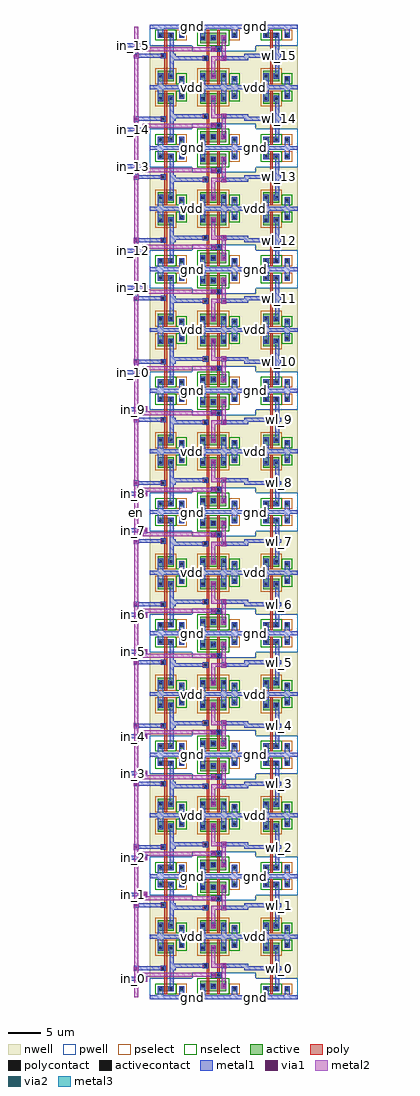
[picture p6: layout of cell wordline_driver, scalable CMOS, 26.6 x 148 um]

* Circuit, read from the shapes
.subckt wordline_driver en gnd in_0 in_1 in_10 in_11 in_12 in_13 in_14 in_15 in_2 in_3 in_4 in_5 in_6 in_7 in_8 in_9 vdd wl_0 wl_1 wl_10 wl_11 wl_12 wl_13 wl_14 wl_15 wl_2 wl_3 wl_4 wl_5 wl_6 wl_7 wl_8 wl_9
M1 pnand2_6_1/A en gnd gnd nfet w=0.8u l=0.4u
M2 pnand2_6_4/A en gnd gnd nfet w=0.8u l=0.4u
M3 pnand2_6_7/A en gnd gnd nfet w=0.8u l=0.4u
M4 pnand2_6_10/A en gnd gnd nfet w=0.8u l=0.4u
M5 pnand2_6_13/A en gnd gnd nfet w=0.8u l=0.4u
M6 pnand2_6_16/A en gnd gnd nfet w=0.8u l=0.4u
M7 pnand2_6_19/A en gnd gnd nfet w=0.8u l=0.4u
M8 pnand2_6_22/A en gnd gnd nfet w=0.8u l=0.4u
M9 pnand2_6_25/A en gnd gnd nfet w=0.8u l=0.4u
M10 pnand2_6_28/A en gnd gnd nfet w=0.8u l=0.4u
M11 pnand2_6_31/A en gnd gnd nfet w=0.8u l=0.4u
M12 pnand2_6_34/A en gnd gnd nfet w=0.8u l=0.4u
M13 pnand2_6_37/A en gnd gnd nfet w=0.8u l=0.4u
M14 pnand2_6_40/A en gnd gnd nfet w=0.8u l=0.4u
M15 pnand2_6_43/A en gnd gnd nfet w=0.8u l=0.4u
M16 pnand2_6_46/A en gnd gnd nfet w=0.8u l=0.4u
M17 pnand2_6_1/nmos_m1_w1_6_a_p_2/D pnand2_6_1/A gnd gnd nfet w=1.6u l=0.4u
M18 pnand2_6_4/nmos_m1_w1_6_a_p_2/D pnand2_6_4/A gnd gnd nfet w=1.6u l=0.4u
M19 pnand2_6_7/nmos_m1_w1_6_a_p_2/D pnand2_6_7/A gnd gnd nfet w=1.6u l=0.4u
M20 pnand2_6_10/nmos_m1_w1_6_a_p_2/D pnand2_6_10/A gnd gnd nfet w=1.6u l=0.4u
M21 pnand2_6_13/nmos_m1_w1_6_a_p_2/D pnand2_6_13/A gnd gnd nfet w=1.6u l=0.4u
M22 pnand2_6_16/nmos_m1_w1_6_a_p_2/D pnand2_6_16/A gnd gnd nfet w=1.6u l=0.4u
M23 pnand2_6_19/nmos_m1_w1_6_a_p_2/D pnand2_6_19/A gnd gnd nfet w=1.6u l=0.4u
M24 pnand2_6_22/nmos_m1_w1_6_a_p_2/D pnand2_6_22/A gnd gnd nfet w=1.6u l=0.4u
M25 pnand2_6_25/nmos_m1_w1_6_a_p_2/D pnand2_6_25/A gnd gnd nfet w=1.6u l=0.4u
M26 pnand2_6_28/nmos_m1_w1_6_a_p_2/D pnand2_6_28/A gnd gnd nfet w=1.6u l=0.4u
M27 pnand2_6_31/nmos_m1_w1_6_a_p_2/D pnand2_6_31/A gnd gnd nfet w=1.6u l=0.4u
M28 pnand2_6_34/nmos_m1_w1_6_a_p_2/D pnand2_6_34/A gnd gnd nfet w=1.6u l=0.4u
M29 pnand2_6_37/nmos_m1_w1_6_a_p_2/D pnand2_6_37/A gnd gnd nfet w=1.6u l=0.4u
M30 pnand2_6_40/nmos_m1_w1_6_a_p_2/D pnand2_6_40/A gnd gnd nfet w=1.6u l=0.4u
M31 pnand2_6_43/nmos_m1_w1_6_a_p_2/D pnand2_6_43/A gnd gnd nfet w=1.6u l=0.4u
M32 pnand2_6_46/nmos_m1_w1_6_a_p_2/D pnand2_6_46/A gnd gnd nfet w=1.6u l=0.4u
M33 pinv_32_2/A in_0 pnand2_6_1/nmos_m1_w1_6_a_p_2/D gnd nfet w=1.6u l=0.4u
M34 pinv_32_5/A in_1 pnand2_6_4/nmos_m1_w1_6_a_p_2/D gnd nfet w=1.6u l=0.4u
M35 pinv_32_8/A in_2 pnand2_6_7/nmos_m1_w1_6_a_p_2/D gnd nfet w=1.6u l=0.4u
M36 pinv_32_11/A in_3 pnand2_6_10/nmos_m1_w1_6_a_p_2/D gnd nfet w=1.6u l=0.4u
M37 pinv_32_14/A in_4 pnand2_6_13/nmos_m1_w1_6_a_p_2/D gnd nfet w=1.6u l=0.4u
M38 pinv_32_17/A in_5 pnand2_6_16/nmos_m1_w1_6_a_p_2/D gnd nfet w=1.6u l=0.4u
M39 pinv_32_20/A in_6 pnand2_6_19/nmos_m1_w1_6_a_p_2/D gnd nfet w=1.6u l=0.4u
M40 pinv_32_23/A in_7 pnand2_6_22/nmos_m1_w1_6_a_p_2/D gnd nfet w=1.6u l=0.4u
M41 pinv_32_26/A in_8 pnand2_6_25/nmos_m1_w1_6_a_p_2/D gnd nfet w=1.6u l=0.4u
M42 pinv_32_29/A in_9 pnand2_6_28/nmos_m1_w1_6_a_p_2/D gnd nfet w=1.6u l=0.4u
M43 pinv_32_32/A in_10 pnand2_6_31/nmos_m1_w1_6_a_p_2/D gnd nfet w=1.6u l=0.4u
M44 pinv_32_35/A in_11 pnand2_6_34/nmos_m1_w1_6_a_p_2/D gnd nfet w=1.6u l=0.4u
M45 pinv_32_38/A in_12 pnand2_6_37/nmos_m1_w1_6_a_p_2/D gnd nfet w=1.6u l=0.4u
M46 pinv_32_41/A in_13 pnand2_6_40/nmos_m1_w1_6_a_p_2/D gnd nfet w=1.6u l=0.4u
M47 pinv_32_44/A in_14 pnand2_6_43/nmos_m1_w1_6_a_p_2/D gnd nfet w=1.6u l=0.4u
M48 pinv_32_47/A in_15 pnand2_6_46/nmos_m1_w1_6_a_p_2/D gnd nfet w=1.6u l=0.4u
M49 wl_0 pinv_32_2/A gnd gnd nfet w=0.8u l=0.4u
M50 wl_1 pinv_32_5/A gnd gnd nfet w=0.8u l=0.4u
M51 wl_2 pinv_32_8/A gnd gnd nfet w=0.8u l=0.4u
M52 wl_3 pinv_32_11/A gnd gnd nfet w=0.8u l=0.4u
M53 wl_4 pinv_32_14/A gnd gnd nfet w=0.8u l=0.4u
M54 wl_5 pinv_32_17/A gnd gnd nfet w=0.8u l=0.4u
M55 wl_6 pinv_32_20/A gnd gnd nfet w=0.8u l=0.4u
M56 wl_7 pinv_32_23/A gnd gnd nfet w=0.8u l=0.4u
M57 wl_8 pinv_32_26/A gnd gnd nfet w=0.8u l=0.4u
M58 wl_9 pinv_32_29/A gnd gnd nfet w=0.8u l=0.4u
M59 wl_10 pinv_32_32/A gnd gnd nfet w=0.8u l=0.4u
M60 wl_11 pinv_32_35/A gnd gnd nfet w=0.8u l=0.4u
M61 wl_12 pinv_32_38/A gnd gnd nfet w=0.8u l=0.4u
M62 wl_13 pinv_32_41/A gnd gnd nfet w=0.8u l=0.4u
M63 wl_14 pinv_32_44/A gnd gnd nfet w=0.8u l=0.4u
M64 wl_15 pinv_32_47/A gnd gnd nfet w=0.8u l=0.4u
M65 pnand2_6_1/A en vdd vdd pfet w=1.6u l=0.4u
M66 pnand2_6_4/A en vdd vdd pfet w=1.6u l=0.4u
M67 pnand2_6_7/A en vdd vdd pfet w=1.6u l=0.4u
M68 pnand2_6_10/A en vdd vdd pfet w=1.6u l=0.4u
M69 pnand2_6_13/A en vdd vdd pfet w=1.6u l=0.4u
M70 pnand2_6_16/A en vdd vdd pfet w=1.6u l=0.4u
M71 pnand2_6_19/A en vdd vdd pfet w=1.6u l=0.4u
M72 pnand2_6_22/A en vdd vdd pfet w=1.6u l=0.4u
M73 pnand2_6_25/A en vdd vdd pfet w=1.6u l=0.4u
M74 pnand2_6_28/A en vdd vdd pfet w=1.6u l=0.4u
M75 pnand2_6_31/A en vdd vdd pfet w=1.6u l=0.4u
M76 pnand2_6_34/A en vdd vdd pfet w=1.6u l=0.4u
M77 pnand2_6_37/A en vdd vdd pfet w=1.6u l=0.4u
M78 pnand2_6_40/A en vdd vdd pfet w=1.6u l=0.4u
M79 pnand2_6_43/A en vdd vdd pfet w=1.6u l=0.4u
M80 pnand2_6_46/A en vdd vdd pfet w=1.6u l=0.4u
M81 pinv_32_2/A pnand2_6_1/A vdd vdd pfet w=1.6u l=0.4u
M82 pinv_32_5/A pnand2_6_4/A vdd vdd pfet w=1.6u l=0.4u
M83 pinv_32_8/A pnand2_6_7/A vdd vdd pfet w=1.6u l=0.4u
M84 pinv_32_11/A pnand2_6_10/A vdd vdd pfet w=1.6u l=0.4u
M85 pinv_32_14/A pnand2_6_13/A vdd vdd pfet w=1.6u l=0.4u
M86 pinv_32_17/A pnand2_6_16/A vdd vdd pfet w=1.6u l=0.4u
M87 pinv_32_20/A pnand2_6_19/A vdd vdd pfet w=1.6u l=0.4u
M88 pinv_32_23/A pnand2_6_22/A vdd vdd pfet w=1.6u l=0.4u
M89 pinv_32_26/A pnand2_6_25/A vdd vdd pfet w=1.6u l=0.4u
M90 pinv_32_29/A pnand2_6_28/A vdd vdd pfet w=1.6u l=0.4u
M91 pinv_32_32/A pnand2_6_31/A vdd vdd pfet w=1.6u l=0.4u
M92 pinv_32_35/A pnand2_6_34/A vdd vdd pfet w=1.6u l=0.4u
M93 pinv_32_38/A pnand2_6_37/A vdd vdd pfet w=1.6u l=0.4u
M94 pinv_32_41/A pnand2_6_40/A vdd vdd pfet w=1.6u l=0.4u
M95 pinv_32_44/A pnand2_6_43/A vdd vdd pfet w=1.6u l=0.4u
M96 pinv_32_47/A pnand2_6_46/A vdd vdd pfet w=1.6u l=0.4u
M97 vdd in_0 pinv_32_2/A vdd pfet w=1.6u l=0.4u
M98 vdd in_1 pinv_32_5/A vdd pfet w=1.6u l=0.4u
M99 vdd in_2 pinv_32_8/A vdd pfet w=1.6u l=0.4u
M100 vdd in_3 pinv_32_11/A vdd pfet w=1.6u l=0.4u
M101 vdd in_4 pinv_32_14/A vdd pfet w=1.6u l=0.4u
M102 vdd in_5 pinv_32_17/A vdd pfet w=1.6u l=0.4u
M103 vdd in_6 pinv_32_20/A vdd pfet w=1.6u l=0.4u
M104 vdd in_7 pinv_32_23/A vdd pfet w=1.6u l=0.4u
M105 vdd in_8 pinv_32_26/A vdd pfet w=1.6u l=0.4u
M106 vdd in_9 pinv_32_29/A vdd pfet w=1.6u l=0.4u
M107 vdd in_10 pinv_32_32/A vdd pfet w=1.6u l=0.4u
M108 vdd in_11 pinv_32_35/A vdd pfet w=1.6u l=0.4u
M109 vdd in_12 pinv_32_38/A vdd pfet w=1.6u l=0.4u
M110 vdd in_13 pinv_32_41/A vdd pfet w=1.6u l=0.4u
M111 vdd in_14 pinv_32_44/A vdd pfet w=1.6u l=0.4u
M112 vdd in_15 pinv_32_47/A vdd pfet w=1.6u l=0.4u
M113 wl_0 pinv_32_2/A vdd vdd pfet w=1.6u l=0.4u
M114 wl_1 pinv_32_5/A vdd vdd pfet w=1.6u l=0.4u
M115 wl_2 pinv_32_8/A vdd vdd pfet w=1.6u l=0.4u
M116 wl_3 pinv_32_11/A vdd vdd pfet w=1.6u l=0.4u
M117 wl_4 pinv_32_14/A vdd vdd pfet w=1.6u l=0.4u
M118 wl_5 pinv_32_17/A vdd vdd pfet w=1.6u l=0.4u
M119 wl_6 pinv_32_20/A vdd vdd pfet w=1.6u l=0.4u
M120 wl_7 pinv_32_23/A vdd vdd pfet w=1.6u l=0.4u
M121 wl_8 pinv_32_26/A vdd vdd pfet w=1.6u l=0.4u
M122 wl_9 pinv_32_29/A vdd vdd pfet w=1.6u l=0.4u
M123 wl_10 pinv_32_32/A vdd vdd pfet w=1.6u l=0.4u
M124 wl_11 pinv_32_35/A vdd vdd pfet w=1.6u l=0.4u
M125 wl_12 pinv_32_38/A vdd vdd pfet w=1.6u l=0.4u
M126 wl_13 pinv_32_41/A vdd vdd pfet w=1.6u l=0.4u
M127 wl_14 pinv_32_44/A vdd vdd pfet w=1.6u l=0.4u
M128 wl_15 pinv_32_47/A vdd vdd pfet w=1.6u l=0.4u
.ends

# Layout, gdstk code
from math import pi, radians
import gdstk
lib = gdstk.Library(unit=1e-6, precision=1e-09)
def R(c, l, rs):  # rectangles x0, y0, x1, y1
    for r in rs: c.add(gdstk.rectangle(r[:2], r[2:], *l))
def A(c, l, x, y, w, h, nx, ny, dx, dy):  # array of equal rectangles
    R(c, l, [(x+i*dx, y+j*dy, x+i*dx+w, y+j*dy+h) for i in range(nx) for j in range(ny)])
pwell = (41, 0)
nwell = (42, 0)
active = (43, 0)
pselect = (44, 0)
nselect = (45, 0)
poly = (46, 0)
polycontact = (47, 0)
activecontact = (48, 0)
metal1 = (49, 0)
via1 = (50, 0)
metal2 = (51, 0)
via2 = (61, 0)
metal3 = (62, 0)

active_contact_metal1_1x = lib.new_cell('active_contact_metal1_1x1_pn')
R(active_contact_metal1_1x, nwell, [(-1.2,-1.2,2,2)])
R(active_contact_metal1_1x, active, [(0,0,0.8,0.8)])
R(active_contact_metal1_1x, pselect, [(-0.4,-0.4,1.2,1.2)])
R(active_contact_metal1_1x, activecontact, [(0.2,0.2,0.6,0.6)])
R(active_contact_metal1_1x, metal1, [(0,0,0.8,0.8)])

pmos_m1_w1_6_a_p = lib.new_cell('pmos_m1_w1_6_a_p')
R(pmos_m1_w1_6_a_p, nwell, [(-1.2,-1.2,3.6,2.8)])
R(pmos_m1_w1_6_a_p, active, [(0,0,2.4,1.6)])
R(pmos_m1_w1_6_a_p, pselect, [(-0.4,-0.4,2.8,2)])
R(pmos_m1_w1_6_a_p, poly, [(1,-0.4,1.4,2), (1,-0.4,1.4,2)])
R(pmos_m1_w1_6_a_p, metal1, [(0,0.4,0.8,1.2), (1.6,0.4,2.4,1.2)])
pmos_m1_w1_6_a_p.add(gdstk.Reference(active_contact_metal1_1x, (0,0.4)))
pmos_m1_w1_6_a_p.add(gdstk.Reference(active_contact_metal1_1x, (1.6,0.4)))
pmos_m1_w1_6_a_p.add(gdstk.Label('G', (1.2,0.8), layer=46, texttype=0))
pmos_m1_w1_6_a_p.add(gdstk.Label('S', (0.4,0.8), layer=49, texttype=0))
pmos_m1_w1_6_a_p.add(gdstk.Label('D', (2,0.8), layer=49, texttype=0))

c_active_contact_metal1_1x = lib.new_cell('active_contact_metal1_1x1_np')
R(c_active_contact_metal1_1x, pwell, [(-1.2,-1.2,2,2)])
R(c_active_contact_metal1_1x, active, [(0,0,0.8,0.8)])
R(c_active_contact_metal1_1x, nselect, [(-0.4,-0.4,1.2,1.2)])
R(c_active_contact_metal1_1x, activecontact, [(0.2,0.2,0.6,0.6)])
R(c_active_contact_metal1_1x, metal1, [(0,0,0.8,0.8)])

nmos_m1_w0_8_a_p = lib.new_cell('nmos_m1_w0_8_a_p')
R(nmos_m1_w0_8_a_p, pwell, [(-1.2,-1.2,3.6,2)])
R(nmos_m1_w0_8_a_p, active, [(0,0,2.4,0.8)])
R(nmos_m1_w0_8_a_p, nselect, [(-0.4,-0.4,2.8,1.2)])
R(nmos_m1_w0_8_a_p, poly, [(1,-0.4,1.4,1.2), (1,-0.4,1.4,1.2)])
R(nmos_m1_w0_8_a_p, metal1, [(0,0,0.8,0.8), (1.6,0,2.4,0.8)])
nmos_m1_w0_8_a_p.add(gdstk.Reference(c_active_contact_metal1_1x, (0,0)))
nmos_m1_w0_8_a_p.add(gdstk.Reference(c_active_contact_metal1_1x, (1.6,0)))
nmos_m1_w0_8_a_p.add(gdstk.Label('G', (1.2,0.4), layer=46, texttype=0))
nmos_m1_w0_8_a_p.add(gdstk.Label('S', (0.4,0.4), layer=49, texttype=0))
nmos_m1_w0_8_a_p.add(gdstk.Label('D', (2,0.4), layer=49, texttype=0))

c_active_contact_metal1_1x_ = lib.new_cell('active_contact_metal1_1x1_nn')
R(c_active_contact_metal1_1x_, nwell, [(-1.2,-1.2,2,2)])
R(c_active_contact_metal1_1x_, active, [(0,0,0.8,0.8)])
R(c_active_contact_metal1_1x_, nselect, [(-0.4,-0.4,1.2,1.2)])
R(c_active_contact_metal1_1x_, activecontact, [(0.2,0.2,0.6,0.6)])
R(c_active_contact_metal1_1x_, metal1, [(0,0,0.8,0.8)])

c_active_contact_metal1_1x__ = lib.new_cell('active_contact_metal1_1x1_pp')
R(c_active_contact_metal1_1x__, pwell, [(-1.2,-1.2,2,2)])
R(c_active_contact_metal1_1x__, active, [(0,0,0.8,0.8)])
R(c_active_contact_metal1_1x__, pselect, [(-0.4,-0.4,1.2,1.2)])
R(c_active_contact_metal1_1x__, activecontact, [(0.2,0.2,0.6,0.6)])
R(c_active_contact_metal1_1x__, metal1, [(0,0,0.8,0.8)])

poly_contact_metal1_1x1 = lib.new_cell('poly_contact_metal1_1x1')
R(poly_contact_metal1_1x1, poly, [(0,0,0.8,0.8)])
R(poly_contact_metal1_1x1, polycontact, [(0.2,0.2,0.6,0.6)])
R(poly_contact_metal1_1x1, metal1, [(0,0,0.8,0.8)])

pinv_33 = lib.new_cell('pinv_33')
R(pinv_33, pwell, [(0,-0.3,6.4,2.9)])
R(pinv_33, nwell, [(0,2.9,6.4,9.5)])
R(pinv_33, poly, [(2.2,0.5,2.6,6.3), (2,4,2.2,4.8)])
R(pinv_33, metal1, [(0,-0.3,6.4,0.3), (1.2,-0.3,2,0.9), (4.4,0,5.2,1.3), (3,0.9,3.6,7.1), (1.6,4,2.4,4.8), (3.3,4.1,3.9,4.7), (1.2,7.1,2,9.5), (4.4,7.9,5.2,9.2), (0,8.9,6.4,9.5)])
pinv_33.add(gdstk.Reference(pmos_m1_w1_6_a_p, (1.2,6.7)))
pinv_33.add(gdstk.Reference(nmos_m1_w0_8_a_p, (1.2,0.9)))
pinv_33.add(gdstk.Reference(c_active_contact_metal1_1x_, (4.4,7.5)))
pinv_33.add(gdstk.Reference(c_active_contact_metal1_1x__, (4.4,0.9)))
pinv_33.add(gdstk.Reference(poly_contact_metal1_1x1, (1.6,4)))
pinv_33.add(gdstk.Label('gnd', (3.2,0), layer=49, texttype=0))
pinv_33.add(gdstk.Label('vdd', (3.2,9.2), layer=49, texttype=0))
pinv_33.add(gdstk.Label('A', (2,4.4), layer=49, texttype=0))
pinv_33.add(gdstk.Label('Z', (3.6,4.4), layer=49, texttype=0))

nmos_m1_w1_6_a_p = lib.new_cell('nmos_m1_w1_6_a_p')
R(nmos_m1_w1_6_a_p, pwell, [(-1.2,-1.2,3.6,2.8)])
R(nmos_m1_w1_6_a_p, active, [(0,0,2.4,1.6)])
R(nmos_m1_w1_6_a_p, nselect, [(-0.4,-0.4,2.8,2)])
R(nmos_m1_w1_6_a_p, poly, [(1,-0.4,1.4,2), (1,-0.4,1.4,2)])
R(nmos_m1_w1_6_a_p, metal1, [(0,0.4,0.8,1.2), (1.6,0.4,2.4,1.2)])
nmos_m1_w1_6_a_p.add(gdstk.Reference(c_active_contact_metal1_1x, (0,0.4)))
nmos_m1_w1_6_a_p.add(gdstk.Reference(c_active_contact_metal1_1x, (1.6,0.4)))
nmos_m1_w1_6_a_p.add(gdstk.Label('G', (1.2,0.8), layer=46, texttype=0))
nmos_m1_w1_6_a_p.add(gdstk.Label('S', (0.4,0.8), layer=49, texttype=0))
nmos_m1_w1_6_a_p.add(gdstk.Label('D', (2,0.8), layer=49, texttype=0))

metal1_via1_metal2_1x1 = lib.new_cell('metal1_via1_metal2_1x1')
R(metal1_via1_metal2_1x1, metal1, [(0,0,0.8,0.8)])
R(metal1_via1_metal2_1x1, via1, [(0.2,0.2,0.6,0.6)])
R(metal1_via1_metal2_1x1, metal2, [(0,0,0.8,0.8)])

pnand2_6 = lib.new_cell('pnand2_6')
R(pnand2_6, pwell, [(0,-0.3,9.6,3.7)])
R(pnand2_6, nwell, [(0,3.7,9.6,9.5)])
R(pnand2_6, poly, [(2.2,0.5,2.6,6.3), (3.8,0.5,4.2,6.3), (3.8,3,4,3.8), (2,4.4,2.2,5.2)])
R(pnand2_6, metal1, [(0,-0.3,9.6,0.3), (1.2,-0.3,2,1.3), (6,0,6.8,1.3), (3.6,3,4.4,3.8), (1.6,4.4,2.4,5.2), (4.4,4.4,5.2,5.2), (1.2,7.1,2,9.5), (4.4,7.1,5.2,9.5), (6,7.9,6.8,9.2), (0,8.9,9.6,9.5)])
R(pnand2_6, metal2, [(4.5,2.1,5.1,4.8), (2.9,4.5,3.5,5.1), (3.2,4.5,4.8,5.1), (4.5,4.5,5.1,5.1), (2.9,4.8,3.5,7.1)])
pnand2_6.add(gdstk.Reference(pmos_m1_w1_6_a_p, (1.2,6.7)))
pnand2_6.add(gdstk.Reference(pmos_m1_w1_6_a_p, (2.8,6.7)))
pnand2_6.add(gdstk.Reference(nmos_m1_w1_6_a_p, (1.2,0.9)))
pnand2_6.add(gdstk.Reference(nmos_m1_w1_6_a_p, (2.8,0.9)))
pnand2_6.add(gdstk.Reference(c_active_contact_metal1_1x_, (6,7.5)))
pnand2_6.add(gdstk.Reference(c_active_contact_metal1_1x__, (6,0.9)))
pnand2_6.add(gdstk.Reference(poly_contact_metal1_1x1, (4.4,3), rotation=pi/2))
pnand2_6.add(gdstk.Reference(poly_contact_metal1_1x1, (2.4,4.4), rotation=pi/2))
pnand2_6.add(gdstk.Reference(metal1_via1_metal2_1x1, (2.8,7.1)))
pnand2_6.add(gdstk.Reference(metal1_via1_metal2_1x1, (4.4,1.3)))
pnand2_6.add(gdstk.Reference(metal1_via1_metal2_1x1, (5.2,4.4), rotation=pi/2))
pnand2_6.add(gdstk.Label('gnd', (4.8,0), layer=49, texttype=0))
pnand2_6.add(gdstk.Label('vdd', (4.8,9.2), layer=49, texttype=0))
pnand2_6.add(gdstk.Label('B', (4,3.4), layer=49, texttype=0))
pnand2_6.add(gdstk.Label('A', (2,4.8), layer=49, texttype=0))
pnand2_6.add(gdstk.Label('Z', (4.8,4.8), layer=49, texttype=0))

pinv_32 = lib.new_cell('pinv_32')
R(pinv_32, pwell, [(0,-0.3,6.4,2.9)])
R(pinv_32, nwell, [(0,2.9,6.4,9.5)])
R(pinv_32, poly, [(2.2,0.5,2.6,6.3), (2,4,2.2,4.8)])
R(pinv_32, metal1, [(0,-0.3,6.4,0.3), (1.2,-0.3,2,0.9), (4.4,0,5.2,1.3), (3,0.9,3.6,7.1), (1.6,4,2.4,4.8), (3.3,4.1,3.9,4.7), (1.2,7.1,2,9.5), (4.4,7.9,5.2,9.2), (0,8.9,6.4,9.5)])
pinv_32.add(gdstk.Reference(pmos_m1_w1_6_a_p, (1.2,6.7)))
pinv_32.add(gdstk.Reference(nmos_m1_w0_8_a_p, (1.2,0.9)))
pinv_32.add(gdstk.Reference(c_active_contact_metal1_1x_, (4.4,7.5)))
pinv_32.add(gdstk.Reference(c_active_contact_metal1_1x__, (4.4,0.9)))
pinv_32.add(gdstk.Reference(poly_contact_metal1_1x1, (1.6,4)))
pinv_32.add(gdstk.Label('gnd', (3.2,0), layer=49, texttype=0))
pinv_32.add(gdstk.Label('vdd', (3.2,9.2), layer=49, texttype=0))
pinv_32.add(gdstk.Label('A', (2,4.4), layer=49, texttype=0))
pinv_32.add(gdstk.Label('Z', (3.6,4.4), layer=49, texttype=0))

metal2_via2_metal3_1x1 = lib.new_cell('metal2_via2_metal3_1x1')
R(metal2_via2_metal3_1x1, metal2, [(0,0,0.8,0.8)])
R(metal2_via2_metal3_1x1, via2, [(0.2,0.2,0.6,0.6)])
R(metal2_via2_metal3_1x1, metal3, [(0,0,0.8,0.8)])

wordline_driver = lib.new_cell('wordline_driver')
A(wordline_driver, metal1, 16.8, 4.8, 0.6, 0.4, 1, 16, 0, 9.2)
A(wordline_driver, metal1, 5.8, 5.1, 0.6, 0.1, 1, 8, 0, 18.4)
A(wordline_driver, metal1, 5.8, 14, 0.6, 0.7, 1, 8, 0, 18.4)
R(wordline_driver, metal1, [(-1.7,2.9,1.7,3.5), (0.4,4.5,4.1,5.1), (5.8,4.5,6.4,5.1), (16.8,4.5,17.4,5.1), (17.1,4.5,20.1,5.1), (21.8,4.5,22.4,5.1), (5.8,4.9,6.4,5.5), (6.1,4.9,10.5,5.5), (10.5,4.9,11.3,5.5), (14.1,4.9,17.1,5.5), (16.8,4.9,17.4,5.5), (5.8,13.7,6.4,14.3), (6.1,13.7,10.5,14.3), (10.5,13.7,11.3,14.3), (14.1,13.7,17.1,14.3), (16.8,13.7,17.4,14.3), (0.4,14.1,4.1,14.7), (5.8,14.1,6.4,14.7), (16.8,14.1,17.4,14.7), (17.1,14.1,20.1,14.7), (21.8,14.1,22.4,14.7), (-1.7,15.7,1.7,16.3), (-1.7,21.3,1.7,21.9), (0.4,22.9,4.1,23.5), (5.8,22.9,6.4,23.5), (16.8,22.9,17.4,23.5), (17.1,22.9,20.1,23.5), (21.8,22.9,22.4,23.5), (5.8,23.3,6.4,23.9), (6.1,23.3,10.5,23.9), (10.5,23.3,11.3,23.9), (14.1,23.3,17.1,23.9), (16.8,23.3,17.4,23.9), (5.8,32.1,6.4,32.7), (6.1,32.1,10.5,32.7), (10.5,32.1,11.3,32.7), (14.1,32.1,17.1,32.7), (16.8,32.1,17.4,32.7), (0.4,32.5,4.1,33.1), (5.8,32.5,6.4,33.1), (16.8,32.5,17.4,33.1), (17.1,32.5,20.1,33.1), (21.8,32.5,22.4,33.1), (-1.7,34.1,1.7,34.7), (-1.7,39.7,1.7,40.3), (0.4,41.3,4.1,41.9), (5.8,41.3,6.4,41.9), (16.8,41.3,17.4,41.9), (17.1,41.3,20.1,41.9), (21.8,41.3,22.4,41.9), (5.8,41.7,6.4,42.3), (6.1,41.7,10.5,42.3), (10.5,41.7,11.3,42.3), (14.1,41.7,17.1,42.3), (16.8,41.7,17.4,42.3), (5.8,50.5,6.4,51.1), (6.1,50.5,10.5,51.1), (10.5,50.5,11.3,51.1), (14.1,50.5,17.1,51.1), (16.8,50.5,17.4,51.1), (0.4,50.9,4.1,51.5), (5.8,50.9,6.4,51.5), (16.8,50.9,17.4,51.5), (17.1,50.9,20.1,51.5), (21.8,50.9,22.4,51.5), (-1.7,52.5,1.7,53.1), (-1.7,58.1,1.7,58.7), (0.4,59.7,4.1,60.3), (5.8,59.7,6.4,60.3), (16.8,59.7,17.4,60.3), (17.1,59.7,20.1,60.3), (21.8,59.7,22.4,60.3), (5.8,60.1,6.4,60.7), (6.1,60.1,10.5,60.7), (10.5,60.1,11.3,60.7), (14.1,60.1,17.1,60.7), (16.8,60.1,17.4,60.7), (5.8,68.9,6.4,69.5), (6.1,68.9,10.5,69.5), (10.5,68.9,11.3,69.5), (14.1,68.9,17.1,69.5), (16.8,68.9,17.4,69.5), (0.4,69.3,4.1,69.9), (5.8,69.3,6.4,69.9), (16.8,69.3,17.4,69.9), (17.1,69.3,20.1,69.9), (21.8,69.3,22.4,69.9), (-1.7,70.9,1.7,71.5), (-1.7,76.5,1.7,77.1), (0.4,78.1,4.1,78.7), (5.8,78.1,6.4,78.7), (16.8,78.1,17.4,78.7), (17.1,78.1,20.1,78.7), (21.8,78.1,22.4,78.7), (5.8,78.5,6.4,79.1), (6.1,78.5,10.5,79.1), (10.5,78.5,11.3,79.1), (14.1,78.5,17.1,79.1), (16.8,78.5,17.4,79.1), (5.8,87.3,6.4,87.9), (6.1,87.3,10.5,87.9), (10.5,87.3,11.3,87.9), (14.1,87.3,17.1,87.9), (16.8,87.3,17.4,87.9), (0.4,87.7,4.1,88.3), (5.8,87.7,6.4,88.3), (16.8,87.7,17.4,88.3), (17.1,87.7,20.1,88.3), (21.8,87.7,22.4,88.3), (-1.7,89.3,1.7,89.9), (-1.7,94.9,1.7,95.5), (0.4,96.5,4.1,97.1), (5.8,96.5,6.4,97.1), (16.8,96.5,17.4,97.1), (17.1,96.5,20.1,97.1), (21.8,96.5,22.4,97.1), (5.8,96.9,6.4,97.5), (6.1,96.9,10.5,97.5), (10.5,96.9,11.3,97.5), (14.1,96.9,17.1,97.5), (16.8,96.9,17.4,97.5), (5.8,105.7,6.4,106.3), (6.1,105.7,10.5,106.3), (10.5,105.7,11.3,106.3), (14.1,105.7,17.1,106.3), (16.8,105.7,17.4,106.3), (0.4,106.1,4.1,106.7), (5.8,106.1,6.4,106.7), (16.8,106.1,17.4,106.7), (17.1,106.1,20.1,106.7), (21.8,106.1,22.4,106.7), (-1.7,107.7,1.7,108.3), (-1.7,113.3,1.7,113.9), (0.4,114.9,4.1,115.5), (5.8,114.9,6.4,115.5), (16.8,114.9,17.4,115.5), (17.1,114.9,20.1,115.5), (21.8,114.9,22.4,115.5), (5.8,115.3,6.4,115.9), (6.1,115.3,10.5,115.9), (10.5,115.3,11.3,115.9), (14.1,115.3,17.1,115.9), (16.8,115.3,17.4,115.9), (5.8,124.1,6.4,124.7), (6.1,124.1,10.5,124.7), (10.5,124.1,11.3,124.7), (14.1,124.1,17.1,124.7), (16.8,124.1,17.4,124.7), (0.4,124.5,4.1,125.1), (5.8,124.5,6.4,125.1), (16.8,124.5,17.4,125.1), (17.1,124.5,20.1,125.1), (21.8,124.5,22.4,125.1), (-1.7,126.1,1.7,126.7), (-1.7,131.7,1.7,132.3), (0.4,133.3,4.1,133.9), (5.8,133.3,6.4,133.9), (16.8,133.3,17.4,133.9), (17.1,133.3,20.1,133.9), (21.8,133.3,22.4,133.9), (5.8,133.7,6.4,134.3), (6.1,133.7,10.5,134.3), (10.5,133.7,11.3,134.3), (14.1,133.7,17.1,134.3), (16.8,133.7,17.4,134.3), (5.8,142.5,6.4,143.1), (6.1,142.5,10.5,143.1), (10.5,142.5,11.3,143.1), (14.1,142.5,17.1,143.1), (16.8,142.5,17.4,143.1), (0.4,142.9,4.1,143.5), (5.8,142.9,6.4,143.5), (16.8,142.9,17.4,143.5), (17.1,142.9,20.1,143.5), (21.8,142.9,22.4,143.5), (-1.7,144.5,1.7,145.1)])
R(wordline_driver, metal2, [(0.1,0.4,0.7,147.6), (1.4,3.2,2,3.8), (1.4,3.5,2,4.1), (1.7,3.5,12.5,4.1), (1.4,15.1,2,15.7), (1.7,15.1,12.5,15.7), (1.4,15.4,2,16), (1.4,21.6,2,22.2), (1.4,21.9,2,22.5), (1.7,21.9,12.5,22.5), (1.4,33.5,2,34.1), (1.7,33.5,12.5,34.1), (1.4,33.8,2,34.4), (1.4,40,2,40.6), (1.4,40.3,2,40.9), (1.7,40.3,12.5,40.9), (1.4,51.9,2,52.5), (1.7,51.9,12.5,52.5), (1.4,52.2,2,52.8), (1.4,58.4,2,59), (1.4,58.7,2,59.3), (1.7,58.7,12.5,59.3), (1.4,70.3,2,70.9), (1.7,70.3,12.5,70.9), (1.4,70.6,2,71.2), (1.4,76.8,2,77.4), (1.4,77.1,2,77.7), (1.7,77.1,12.5,77.7), (1.4,88.7,2,89.3), (1.7,88.7,12.5,89.3), (1.4,89,2,89.6), (1.4,95.2,2,95.8), (1.4,95.5,2,96.1), (1.7,95.5,12.5,96.1), (1.4,107.1,2,107.7), (1.7,107.1,12.5,107.7), (1.4,107.4,2,108), (1.4,113.6,2,114.2), (1.4,113.9,2,114.5), (1.7,113.9,12.5,114.5), (1.4,125.5,2,126.1), (1.7,125.5,12.5,126.1), (1.4,125.8,2,126.4), (1.4,132,2,132.6), (1.4,132.3,2,132.9), (1.7,132.3,12.5,132.9), (1.4,143.9,2,144.5), (1.7,143.9,12.5,144.5), (1.4,144.2,2,144.8)])
A(wordline_driver, metal3, 8.6, 0.1, 0.6, 0.6, 1, 17, 0, 9.2)
A(wordline_driver, metal3, 18.2, 0.1, 0.6, 0.6, 1, 17, 0, 9.2)
wordline_driver.add(gdstk.Reference(pinv_33, (2.5,0.4)))
wordline_driver.add(gdstk.Reference(pnand2_6, (8.9,0.4)))
wordline_driver.add(gdstk.Reference(pinv_32, (18.5,0.4)))
wordline_driver.add(gdstk.Reference(pinv_33, (2.5,18.8), x_reflection=True))
wordline_driver.add(gdstk.Reference(pnand2_6, (8.9,18.8), x_reflection=True))
wordline_driver.add(gdstk.Reference(pinv_32, (18.5,18.8), x_reflection=True))
wordline_driver.add(gdstk.Reference(pinv_33, (2.5,18.8)))
wordline_driver.add(gdstk.Reference(pnand2_6, (8.9,18.8)))
wordline_driver.add(gdstk.Reference(pinv_32, (18.5,18.8)))
wordline_driver.add(gdstk.Reference(pinv_33, (2.5,37.2), x_reflection=True))
wordline_driver.add(gdstk.Reference(pnand2_6, (8.9,37.2), x_reflection=True))
wordline_driver.add(gdstk.Reference(pinv_32, (18.5,37.2), x_reflection=True))
wordline_driver.add(gdstk.Reference(pinv_33, (2.5,37.2)))
wordline_driver.add(gdstk.Reference(pnand2_6, (8.9,37.2)))
wordline_driver.add(gdstk.Reference(pinv_32, (18.5,37.2)))
wordline_driver.add(gdstk.Reference(pinv_33, (2.5,55.6), x_reflection=True))
wordline_driver.add(gdstk.Reference(pnand2_6, (8.9,55.6), x_reflection=True))
wordline_driver.add(gdstk.Reference(pinv_32, (18.5,55.6), x_reflection=True))
wordline_driver.add(gdstk.Reference(pinv_33, (2.5,55.6)))
wordline_driver.add(gdstk.Reference(pnand2_6, (8.9,55.6)))
wordline_driver.add(gdstk.Reference(pinv_32, (18.5,55.6)))
wordline_driver.add(gdstk.Reference(pinv_33, (2.5,74), x_reflection=True))
wordline_driver.add(gdstk.Reference(pnand2_6, (8.9,74), x_reflection=True))
wordline_driver.add(gdstk.Reference(pinv_32, (18.5,74), x_reflection=True))
wordline_driver.add(gdstk.Reference(pinv_33, (2.5,74)))
wordline_driver.add(gdstk.Reference(pnand2_6, (8.9,74)))
wordline_driver.add(gdstk.Reference(pinv_32, (18.5,74)))
wordline_driver.add(gdstk.Reference(pinv_33, (2.5,92.4), x_reflection=True))
wordline_driver.add(gdstk.Reference(pnand2_6, (8.9,92.4), x_reflection=True))
wordline_driver.add(gdstk.Reference(pinv_32, (18.5,92.4), x_reflection=True))
wordline_driver.add(gdstk.Reference(pinv_33, (2.5,92.4)))
wordline_driver.add(gdstk.Reference(pnand2_6, (8.9,92.4)))
wordline_driver.add(gdstk.Reference(pinv_32, (18.5,92.4)))
wordline_driver.add(gdstk.Reference(pinv_33, (2.5,110.8), x_reflection=True))
wordline_driver.add(gdstk.Reference(pnand2_6, (8.9,110.8), x_reflection=True))
wordline_driver.add(gdstk.Reference(pinv_32, (18.5,110.8), x_reflection=True))
wordline_driver.add(gdstk.Reference(pinv_33, (2.5,110.8)))
wordline_driver.add(gdstk.Reference(pnand2_6, (8.9,110.8)))
wordline_driver.add(gdstk.Reference(pinv_32, (18.5,110.8)))
wordline_driver.add(gdstk.Reference(pinv_33, (2.5,129.2), x_reflection=True))
wordline_driver.add(gdstk.Reference(pnand2_6, (8.9,129.2), x_reflection=True))
wordline_driver.add(gdstk.Reference(pinv_32, (18.5,129.2), x_reflection=True))
wordline_driver.add(gdstk.Reference(pinv_33, (2.5,129.2)))
wordline_driver.add(gdstk.Reference(pnand2_6, (8.9,129.2)))
wordline_driver.add(gdstk.Reference(pinv_32, (18.5,129.2)))
wordline_driver.add(gdstk.Reference(pinv_33, (2.5,147.6), x_reflection=True))
wordline_driver.add(gdstk.Reference(pnand2_6, (8.9,147.6), x_reflection=True))
wordline_driver.add(gdstk.Reference(pinv_32, (18.5,147.6), x_reflection=True))
wordline_driver.add(gdstk.Reference(metal1_via1_metal2_1x1, (0,4.4)))
wordline_driver.add(gdstk.Reference(metal1_via1_metal2_1x1, (1.3,2.8)))
wordline_driver.add(gdstk.Reference(metal1_via1_metal2_1x1, (12.5,3.4), rotation=pi/2))
wordline_driver.add(gdstk.Reference(metal1_via1_metal2_1x1, (0,14)))
wordline_driver.add(gdstk.Reference(metal1_via1_metal2_1x1, (1.3,15.6)))
wordline_driver.add(gdstk.Reference(metal1_via1_metal2_1x1, (12.5,15), rotation=pi/2))
wordline_driver.add(gdstk.Reference(metal1_via1_metal2_1x1, (0,22.8)))
wordline_driver.add(gdstk.Reference(metal1_via1_metal2_1x1, (1.3,21.2)))
wordline_driver.add(gdstk.Reference(metal1_via1_metal2_1x1, (12.5,21.8), rotation=pi/2))
wordline_driver.add(gdstk.Reference(metal1_via1_metal2_1x1, (0,32.4)))
wordline_driver.add(gdstk.Reference(metal1_via1_metal2_1x1, (1.3,34)))
wordline_driver.add(gdstk.Reference(metal1_via1_metal2_1x1, (12.5,33.4), rotation=pi/2))
wordline_driver.add(gdstk.Reference(metal1_via1_metal2_1x1, (0,41.2)))
wordline_driver.add(gdstk.Reference(metal1_via1_metal2_1x1, (1.3,39.6)))
wordline_driver.add(gdstk.Reference(metal1_via1_metal2_1x1, (12.5,40.2), rotation=pi/2))
wordline_driver.add(gdstk.Reference(metal1_via1_metal2_1x1, (0,50.8)))
wordline_driver.add(gdstk.Reference(metal1_via1_metal2_1x1, (1.3,52.4)))
wordline_driver.add(gdstk.Reference(metal1_via1_metal2_1x1, (12.5,51.8), rotation=pi/2))
wordline_driver.add(gdstk.Reference(metal1_via1_metal2_1x1, (0,59.6)))
wordline_driver.add(gdstk.Reference(metal1_via1_metal2_1x1, (1.3,58)))
wordline_driver.add(gdstk.Reference(metal1_via1_metal2_1x1, (12.5,58.6), rotation=pi/2))
wordline_driver.add(gdstk.Reference(metal1_via1_metal2_1x1, (0,69.2)))
wordline_driver.add(gdstk.Reference(metal1_via1_metal2_1x1, (1.3,70.8)))
wordline_driver.add(gdstk.Reference(metal1_via1_metal2_1x1, (12.5,70.2), rotation=pi/2))
wordline_driver.add(gdstk.Reference(metal1_via1_metal2_1x1, (0,78)))
wordline_driver.add(gdstk.Reference(metal1_via1_metal2_1x1, (1.3,76.4)))
wordline_driver.add(gdstk.Reference(metal1_via1_metal2_1x1, (12.5,77), rotation=pi/2))
wordline_driver.add(gdstk.Reference(metal1_via1_metal2_1x1, (0,87.6)))
wordline_driver.add(gdstk.Reference(metal1_via1_metal2_1x1, (1.3,89.2)))
wordline_driver.add(gdstk.Reference(metal1_via1_metal2_1x1, (12.5,88.6), rotation=pi/2))
wordline_driver.add(gdstk.Reference(metal1_via1_metal2_1x1, (0,96.4)))
wordline_driver.add(gdstk.Reference(metal1_via1_metal2_1x1, (1.3,94.8)))
wordline_driver.add(gdstk.Reference(metal1_via1_metal2_1x1, (12.5,95.4), rotation=pi/2))
wordline_driver.add(gdstk.Reference(metal1_via1_metal2_1x1, (0,106)))
wordline_driver.add(gdstk.Reference(metal1_via1_metal2_1x1, (1.3,107.6)))
wordline_driver.add(gdstk.Reference(metal1_via1_metal2_1x1, (12.5,107), rotation=pi/2))
wordline_driver.add(gdstk.Reference(metal1_via1_metal2_1x1, (0,114.8)))
wordline_driver.add(gdstk.Reference(metal1_via1_metal2_1x1, (1.3,113.2)))
wordline_driver.add(gdstk.Reference(metal1_via1_metal2_1x1, (12.5,113.8), rotation=pi/2))
wordline_driver.add(gdstk.Reference(metal1_via1_metal2_1x1, (0,124.4)))
wordline_driver.add(gdstk.Reference(metal1_via1_metal2_1x1, (1.3,126)))
wordline_driver.add(gdstk.Reference(metal1_via1_metal2_1x1, (12.5,125.4), rotation=pi/2))
wordline_driver.add(gdstk.Reference(metal1_via1_metal2_1x1, (0,133.2)))
wordline_driver.add(gdstk.Reference(metal1_via1_metal2_1x1, (1.3,131.6)))
wordline_driver.add(gdstk.Reference(metal1_via1_metal2_1x1, (12.5,132.2), rotation=pi/2))
wordline_driver.add(gdstk.Reference(metal1_via1_metal2_1x1, (0,142.8)))
wordline_driver.add(gdstk.Reference(metal1_via1_metal2_1x1, (1.3,144.4)))
wordline_driver.add(gdstk.Reference(metal1_via1_metal2_1x1, (12.5,143.8), rotation=pi/2))
wordline_driver.add(gdstk.Reference(metal1_via1_metal2_1x1, (9.3,9.2), rotation=pi/2))
wordline_driver.add(gdstk.Reference(metal2_via2_metal3_1x1, (9.3,9.2), rotation=pi/2))
wordline_driver.add(gdstk.Reference(metal1_via1_metal2_1x1, (18.9,9.2), rotation=pi/2))
wordline_driver.add(gdstk.Reference(metal2_via2_metal3_1x1, (18.9,9.2), rotation=pi/2))
wordline_driver.add(gdstk.Reference(metal1_via1_metal2_1x1, (9.3,0), rotation=pi/2))
wordline_driver.add(gdstk.Reference(metal2_via2_metal3_1x1, (9.3,0), rotation=pi/2))
wordline_driver.add(gdstk.Reference(metal1_via1_metal2_1x1, (18.9,0), rotation=pi/2))
wordline_driver.add(gdstk.Reference(metal2_via2_metal3_1x1, (18.9,0), rotation=pi/2))
wordline_driver.add(gdstk.Reference(metal1_via1_metal2_1x1, (9.3,9.2), rotation=pi/2))
wordline_driver.add(gdstk.Reference(metal2_via2_metal3_1x1, (9.3,9.2), rotation=pi/2))
wordline_driver.add(gdstk.Reference(metal1_via1_metal2_1x1, (18.9,9.2), rotation=pi/2))
wordline_driver.add(gdstk.Reference(metal2_via2_metal3_1x1, (18.9,9.2), rotation=pi/2))
wordline_driver.add(gdstk.Reference(metal1_via1_metal2_1x1, (9.3,18.4), rotation=pi/2))
wordline_driver.add(gdstk.Reference(metal2_via2_metal3_1x1, (9.3,18.4), rotation=pi/2))
wordline_driver.add(gdstk.Reference(metal1_via1_metal2_1x1, (18.9,18.4), rotation=pi/2))
wordline_driver.add(gdstk.Reference(metal2_via2_metal3_1x1, (18.9,18.4), rotation=pi/2))
wordline_driver.add(gdstk.Reference(metal1_via1_metal2_1x1, (9.3,27.6), rotation=pi/2))
wordline_driver.add(gdstk.Reference(metal2_via2_metal3_1x1, (9.3,27.6), rotation=pi/2))
wordline_driver.add(gdstk.Reference(metal1_via1_metal2_1x1, (18.9,27.6), rotation=pi/2))
wordline_driver.add(gdstk.Reference(metal2_via2_metal3_1x1, (18.9,27.6), rotation=pi/2))
wordline_driver.add(gdstk.Reference(metal1_via1_metal2_1x1, (9.3,18.4), rotation=pi/2))
wordline_driver.add(gdstk.Reference(metal2_via2_metal3_1x1, (9.3,18.4), rotation=pi/2))
wordline_driver.add(gdstk.Reference(metal1_via1_metal2_1x1, (18.9,18.4), rotation=pi/2))
wordline_driver.add(gdstk.Reference(metal2_via2_metal3_1x1, (18.9,18.4), rotation=pi/2))
wordline_driver.add(gdstk.Reference(metal1_via1_metal2_1x1, (9.3,27.6), rotation=pi/2))
wordline_driver.add(gdstk.Reference(metal2_via2_metal3_1x1, (9.3,27.6), rotation=pi/2))
wordline_driver.add(gdstk.Reference(metal1_via1_metal2_1x1, (18.9,27.6), rotation=pi/2))
wordline_driver.add(gdstk.Reference(metal2_via2_metal3_1x1, (18.9,27.6), rotation=pi/2))
wordline_driver.add(gdstk.Reference(metal1_via1_metal2_1x1, (9.3,36.8), rotation=pi/2))
wordline_driver.add(gdstk.Reference(metal2_via2_metal3_1x1, (9.3,36.8), rotation=pi/2))
wordline_driver.add(gdstk.Reference(metal1_via1_metal2_1x1, (18.9,36.8), rotation=pi/2))
wordline_driver.add(gdstk.Reference(metal2_via2_metal3_1x1, (18.9,36.8), rotation=pi/2))
wordline_driver.add(gdstk.Reference(metal1_via1_metal2_1x1, (9.3,46), rotation=pi/2))
wordline_driver.add(gdstk.Reference(metal2_via2_metal3_1x1, (9.3,46), rotation=pi/2))
wordline_driver.add(gdstk.Reference(metal1_via1_metal2_1x1, (18.9,46), rotation=pi/2))
wordline_driver.add(gdstk.Reference(metal2_via2_metal3_1x1, (18.9,46), rotation=pi/2))
wordline_driver.add(gdstk.Reference(metal1_via1_metal2_1x1, (9.3,36.8), rotation=pi/2))
wordline_driver.add(gdstk.Reference(metal2_via2_metal3_1x1, (9.3,36.8), rotation=pi/2))
wordline_driver.add(gdstk.Reference(metal1_via1_metal2_1x1, (18.9,36.8), rotation=pi/2))
wordline_driver.add(gdstk.Reference(metal2_via2_metal3_1x1, (18.9,36.8), rotation=pi/2))
wordline_driver.add(gdstk.Reference(metal1_via1_metal2_1x1, (9.3,46), rotation=pi/2))
wordline_driver.add(gdstk.Reference(metal2_via2_metal3_1x1, (9.3,46), rotation=pi/2))
wordline_driver.add(gdstk.Reference(metal1_via1_metal2_1x1, (18.9,46), rotation=pi/2))
wordline_driver.add(gdstk.Reference(metal2_via2_metal3_1x1, (18.9,46), rotation=pi/2))
wordline_driver.add(gdstk.Reference(metal1_via1_metal2_1x1, (9.3,55.2), rotation=pi/2))
wordline_driver.add(gdstk.Reference(metal2_via2_metal3_1x1, (9.3,55.2), rotation=pi/2))
wordline_driver.add(gdstk.Reference(metal1_via1_metal2_1x1, (18.9,55.2), rotation=pi/2))
wordline_driver.add(gdstk.Reference(metal2_via2_metal3_1x1, (18.9,55.2), rotation=pi/2))
wordline_driver.add(gdstk.Reference(metal1_via1_metal2_1x1, (9.3,64.4), rotation=pi/2))
wordline_driver.add(gdstk.Reference(metal2_via2_metal3_1x1, (9.3,64.4), rotation=pi/2))
wordline_driver.add(gdstk.Reference(metal1_via1_metal2_1x1, (18.9,64.4), rotation=pi/2))
wordline_driver.add(gdstk.Reference(metal2_via2_metal3_1x1, (18.9,64.4), rotation=pi/2))
wordline_driver.add(gdstk.Reference(metal1_via1_metal2_1x1, (9.3,55.2), rotation=pi/2))
wordline_driver.add(gdstk.Reference(metal2_via2_metal3_1x1, (9.3,55.2), rotation=pi/2))
wordline_driver.add(gdstk.Reference(metal1_via1_metal2_1x1, (18.9,55.2), rotation=pi/2))
wordline_driver.add(gdstk.Reference(metal2_via2_metal3_1x1, (18.9,55.2), rotation=pi/2))
wordline_driver.add(gdstk.Reference(metal1_via1_metal2_1x1, (9.3,64.4), rotation=pi/2))
wordline_driver.add(gdstk.Reference(metal2_via2_metal3_1x1, (9.3,64.4), rotation=pi/2))
wordline_driver.add(gdstk.Reference(metal1_via1_metal2_1x1, (18.9,64.4), rotation=pi/2))
wordline_driver.add(gdstk.Reference(metal2_via2_metal3_1x1, (18.9,64.4), rotation=pi/2))
wordline_driver.add(gdstk.Reference(metal1_via1_metal2_1x1, (9.3,73.6), rotation=pi/2))
wordline_driver.add(gdstk.Reference(metal2_via2_metal3_1x1, (9.3,73.6), rotation=pi/2))
wordline_driver.add(gdstk.Reference(metal1_via1_metal2_1x1, (18.9,73.6), rotation=pi/2))
wordline_driver.add(gdstk.Reference(metal2_via2_metal3_1x1, (18.9,73.6), rotation=pi/2))
wordline_driver.add(gdstk.Reference(metal1_via1_metal2_1x1, (9.3,82.8), rotation=pi/2))
wordline_driver.add(gdstk.Reference(metal2_via2_metal3_1x1, (9.3,82.8), rotation=pi/2))
wordline_driver.add(gdstk.Reference(metal1_via1_metal2_1x1, (18.9,82.8), rotation=pi/2))
wordline_driver.add(gdstk.Reference(metal2_via2_metal3_1x1, (18.9,82.8), rotation=pi/2))
wordline_driver.add(gdstk.Reference(metal1_via1_metal2_1x1, (9.3,73.6), rotation=pi/2))
wordline_driver.add(gdstk.Reference(metal2_via2_metal3_1x1, (9.3,73.6), rotation=pi/2))
wordline_driver.add(gdstk.Reference(metal1_via1_metal2_1x1, (18.9,73.6), rotation=pi/2))
wordline_driver.add(gdstk.Reference(metal2_via2_metal3_1x1, (18.9,73.6), rotation=pi/2))
wordline_driver.add(gdstk.Reference(metal1_via1_metal2_1x1, (9.3,82.8), rotation=pi/2))
wordline_driver.add(gdstk.Reference(metal2_via2_metal3_1x1, (9.3,82.8), rotation=pi/2))
wordline_driver.add(gdstk.Reference(metal1_via1_metal2_1x1, (18.9,82.8), rotation=pi/2))
wordline_driver.add(gdstk.Reference(metal2_via2_metal3_1x1, (18.9,82.8), rotation=pi/2))
wordline_driver.add(gdstk.Reference(metal1_via1_metal2_1x1, (9.3,92), rotation=pi/2))
wordline_driver.add(gdstk.Reference(metal2_via2_metal3_1x1, (9.3,92), rotation=pi/2))
wordline_driver.add(gdstk.Reference(metal1_via1_metal2_1x1, (18.9,92), rotation=pi/2))
wordline_driver.add(gdstk.Reference(metal2_via2_metal3_1x1, (18.9,92), rotation=pi/2))
wordline_driver.add(gdstk.Reference(metal1_via1_metal2_1x1, (9.3,101.2), rotation=pi/2))
wordline_driver.add(gdstk.Reference(metal2_via2_metal3_1x1, (9.3,101.2), rotation=pi/2))
wordline_driver.add(gdstk.Reference(metal1_via1_metal2_1x1, (18.9,101.2), rotation=pi/2))
wordline_driver.add(gdstk.Reference(metal2_via2_metal3_1x1, (18.9,101.2), rotation=pi/2))
wordline_driver.add(gdstk.Reference(metal1_via1_metal2_1x1, (9.3,92), rotation=pi/2))
wordline_driver.add(gdstk.Reference(metal2_via2_metal3_1x1, (9.3,92), rotation=pi/2))
wordline_driver.add(gdstk.Reference(metal1_via1_metal2_1x1, (18.9,92), rotation=pi/2))
wordline_driver.add(gdstk.Reference(metal2_via2_metal3_1x1, (18.9,92), rotation=pi/2))
wordline_driver.add(gdstk.Reference(metal1_via1_metal2_1x1, (9.3,101.2), rotation=pi/2))
wordline_driver.add(gdstk.Reference(metal2_via2_metal3_1x1, (9.3,101.2), rotation=pi/2))
wordline_driver.add(gdstk.Reference(metal1_via1_metal2_1x1, (18.9,101.2), rotation=pi/2))
wordline_driver.add(gdstk.Reference(metal2_via2_metal3_1x1, (18.9,101.2), rotation=pi/2))
wordline_driver.add(gdstk.Reference(metal1_via1_metal2_1x1, (9.3,110.4), rotation=pi/2))
wordline_driver.add(gdstk.Reference(metal2_via2_metal3_1x1, (9.3,110.4), rotation=pi/2))
wordline_driver.add(gdstk.Reference(metal1_via1_metal2_1x1, (18.9,110.4), rotation=pi/2))
wordline_driver.add(gdstk.Reference(metal2_via2_metal3_1x1, (18.9,110.4), rotation=pi/2))
wordline_driver.add(gdstk.Reference(metal1_via1_metal2_1x1, (9.3,119.6), rotation=pi/2))
wordline_driver.add(gdstk.Reference(metal2_via2_metal3_1x1, (9.3,119.6), rotation=pi/2))
wordline_driver.add(gdstk.Reference(metal1_via1_metal2_1x1, (18.9,119.6), rotation=pi/2))
wordline_driver.add(gdstk.Reference(metal2_via2_metal3_1x1, (18.9,119.6), rotation=pi/2))
wordline_driver.add(gdstk.Reference(metal1_via1_metal2_1x1, (9.3,110.4), rotation=pi/2))
wordline_driver.add(gdstk.Reference(metal2_via2_metal3_1x1, (9.3,110.4), rotation=pi/2))
wordline_driver.add(gdstk.Reference(metal1_via1_metal2_1x1, (18.9,110.4), rotation=pi/2))
wordline_driver.add(gdstk.Reference(metal2_via2_metal3_1x1, (18.9,110.4), rotation=pi/2))
wordline_driver.add(gdstk.Reference(metal1_via1_metal2_1x1, (9.3,119.6), rotation=pi/2))
wordline_driver.add(gdstk.Reference(metal2_via2_metal3_1x1, (9.3,119.6), rotation=pi/2))
wordline_driver.add(gdstk.Reference(metal1_via1_metal2_1x1, (18.9,119.6), rotation=pi/2))
wordline_driver.add(gdstk.Reference(metal2_via2_metal3_1x1, (18.9,119.6), rotation=pi/2))
wordline_driver.add(gdstk.Reference(metal1_via1_metal2_1x1, (9.3,128.8), rotation=pi/2))
wordline_driver.add(gdstk.Reference(metal2_via2_metal3_1x1, (9.3,128.8), rotation=pi/2))
wordline_driver.add(gdstk.Reference(metal1_via1_metal2_1x1, (18.9,128.8), rotation=pi/2))
wordline_driver.add(gdstk.Reference(metal2_via2_metal3_1x1, (18.9,128.8), rotation=pi/2))
wordline_driver.add(gdstk.Reference(metal1_via1_metal2_1x1, (9.3,138), rotation=pi/2))
wordline_driver.add(gdstk.Reference(metal2_via2_metal3_1x1, (9.3,138), rotation=pi/2))
wordline_driver.add(gdstk.Reference(metal1_via1_metal2_1x1, (18.9,138), rotation=pi/2))
wordline_driver.add(gdstk.Reference(metal2_via2_metal3_1x1, (18.9,138), rotation=pi/2))
wordline_driver.add(gdstk.Reference(metal1_via1_metal2_1x1, (9.3,128.8), rotation=pi/2))
wordline_driver.add(gdstk.Reference(metal2_via2_metal3_1x1, (9.3,128.8), rotation=pi/2))
wordline_driver.add(gdstk.Reference(metal1_via1_metal2_1x1, (18.9,128.8), rotation=pi/2))
wordline_driver.add(gdstk.Reference(metal2_via2_metal3_1x1, (18.9,128.8), rotation=pi/2))
wordline_driver.add(gdstk.Reference(metal1_via1_metal2_1x1, (9.3,138), rotation=pi/2))
wordline_driver.add(gdstk.Reference(metal2_via2_metal3_1x1, (9.3,138), rotation=pi/2))
wordline_driver.add(gdstk.Reference(metal1_via1_metal2_1x1, (18.9,138), rotation=pi/2))
wordline_driver.add(gdstk.Reference(metal2_via2_metal3_1x1, (18.9,138), rotation=pi/2))
wordline_driver.add(gdstk.Reference(metal1_via1_metal2_1x1, (9.3,147.2), rotation=pi/2))
wordline_driver.add(gdstk.Reference(metal2_via2_metal3_1x1, (9.3,147.2), rotation=pi/2))
wordline_driver.add(gdstk.Reference(metal1_via1_metal2_1x1, (18.9,147.2), rotation=pi/2))
wordline_driver.add(gdstk.Reference(metal2_via2_metal3_1x1, (18.9,147.2), rotation=pi/2))
wordline_driver.add(gdstk.Label('en', (0.4,74), layer=51, texttype=0))
wordline_driver.add(gdstk.Label('in_0', (0,3.2), layer=49, texttype=0))
wordline_driver.add(gdstk.Label('wl_0', (22.1,4.8), layer=49, texttype=0))
wordline_driver.add(gdstk.Label('in_1', (0,16), layer=49, texttype=0))
wordline_driver.add(gdstk.Label('wl_1', (22.1,14.4), layer=49, texttype=0))
wordline_driver.add(gdstk.Label('in_2', (0,21.6), layer=49, texttype=0))
wordline_driver.add(gdstk.Label('wl_2', (22.1,23.2), layer=49, texttype=0))
wordline_driver.add(gdstk.Label('in_3', (0,34.4), layer=49, texttype=0))
wordline_driver.add(gdstk.Label('wl_3', (22.1,32.8), layer=49, texttype=0))
wordline_driver.add(gdstk.Label('in_4', (0,40), layer=49, texttype=0))
wordline_driver.add(gdstk.Label('wl_4', (22.1,41.6), layer=49, texttype=0))
wordline_driver.add(gdstk.Label('in_5', (0,52.8), layer=49, texttype=0))
wordline_driver.add(gdstk.Label('wl_5', (22.1,51.2), layer=49, texttype=0))
wordline_driver.add(gdstk.Label('in_6', (0,58.4), layer=49, texttype=0))
wordline_driver.add(gdstk.Label('wl_6', (22.1,60), layer=49, texttype=0))
wordline_driver.add(gdstk.Label('in_7', (0,71.2), layer=49, texttype=0))
wordline_driver.add(gdstk.Label('wl_7', (22.1,69.6), layer=49, texttype=0))
wordline_driver.add(gdstk.Label('in_8', (0,76.8), layer=49, texttype=0))
wordline_driver.add(gdstk.Label('wl_8', (22.1,78.4), layer=49, texttype=0))
wordline_driver.add(gdstk.Label('in_9', (0,89.6), layer=49, texttype=0))
wordline_driver.add(gdstk.Label('wl_9', (22.1,88), layer=49, texttype=0))
wordline_driver.add(gdstk.Label('in_10', (0,95.2), layer=49, texttype=0))
wordline_driver.add(gdstk.Label('wl_10', (22.1,96.8), layer=49, texttype=0))
wordline_driver.add(gdstk.Label('in_11', (0,108), layer=49, texttype=0))
wordline_driver.add(gdstk.Label('wl_11', (22.1,106.4), layer=49, texttype=0))
wordline_driver.add(gdstk.Label('in_12', (0,113.6), layer=49, texttype=0))
wordline_driver.add(gdstk.Label('wl_12', (22.1,115.2), layer=49, texttype=0))
wordline_driver.add(gdstk.Label('in_13', (0,126.4), layer=49, texttype=0))
wordline_driver.add(gdstk.Label('wl_13', (22.1,124.8), layer=49, texttype=0))
wordline_driver.add(gdstk.Label('in_14', (0,132), layer=49, texttype=0))
wordline_driver.add(gdstk.Label('wl_14', (22.1,133.6), layer=49, texttype=0))
wordline_driver.add(gdstk.Label('in_15', (0,144.8), layer=49, texttype=0))
wordline_driver.add(gdstk.Label('wl_15', (22.1,143.2), layer=49, texttype=0))
wordline_driver.add(gdstk.Label('vdd', (8.9,9.6), layer=62, texttype=0))
wordline_driver.add(gdstk.Label('vdd', (18.5,9.6), layer=62, texttype=0))
wordline_driver.add(gdstk.Label('vdd', (8.9,28), layer=62, texttype=0))
wordline_driver.add(gdstk.Label('vdd', (18.5,28), layer=62, texttype=0))
wordline_driver.add(gdstk.Label('vdd', (8.9,46.4), layer=62, texttype=0))
wordline_driver.add(gdstk.Label('vdd', (18.5,46.4), layer=62, texttype=0))
wordline_driver.add(gdstk.Label('vdd', (8.9,64.8), layer=62, texttype=0))
wordline_driver.add(gdstk.Label('vdd', (18.5,64.8), layer=62, texttype=0))
wordline_driver.add(gdstk.Label('vdd', (8.9,83.2), layer=62, texttype=0))
wordline_driver.add(gdstk.Label('vdd', (18.5,83.2), layer=62, texttype=0))
wordline_driver.add(gdstk.Label('vdd', (8.9,101.6), layer=62, texttype=0))
wordline_driver.add(gdstk.Label('vdd', (18.5,101.6), layer=62, texttype=0))
wordline_driver.add(gdstk.Label('vdd', (8.9,120), layer=62, texttype=0))
wordline_driver.add(gdstk.Label('vdd', (18.5,120), layer=62, texttype=0))
wordline_driver.add(gdstk.Label('vdd', (8.9,138.4), layer=62, texttype=0))
wordline_driver.add(gdstk.Label('vdd', (18.5,138.4), layer=62, texttype=0))
wordline_driver.add(gdstk.Label('gnd', (8.9,0.4), layer=62, texttype=0))
wordline_driver.add(gdstk.Label('gnd', (18.5,0.4), layer=62, texttype=0))
wordline_driver.add(gdstk.Label('gnd', (8.9,18.8), layer=62, texttype=0))
wordline_driver.add(gdstk.Label('gnd', (18.5,18.8), layer=62, texttype=0))
wordline_driver.add(gdstk.Label('gnd', (8.9,37.2), layer=62, texttype=0))
wordline_driver.add(gdstk.Label('gnd', (18.5,37.2), layer=62, texttype=0))
wordline_driver.add(gdstk.Label('gnd', (8.9,55.6), layer=62, texttype=0))
wordline_driver.add(gdstk.Label('gnd', (18.5,55.6), layer=62, texttype=0))
wordline_driver.add(gdstk.Label('gnd', (8.9,74), layer=62, texttype=0))
wordline_driver.add(gdstk.Label('gnd', (18.5,74), layer=62, texttype=0))
wordline_driver.add(gdstk.Label('gnd', (8.9,92.4), layer=62, texttype=0))
wordline_driver.add(gdstk.Label('gnd', (18.5,92.4), layer=62, texttype=0))
wordline_driver.add(gdstk.Label('gnd', (8.9,110.8), layer=62, texttype=0))
wordline_driver.add(gdstk.Label('gnd', (18.5,110.8), layer=62, texttype=0))
wordline_driver.add(gdstk.Label('gnd', (8.9,129.2), layer=62, texttype=0))
wordline_driver.add(gdstk.Label('gnd', (18.5,129.2), layer=62, texttype=0))
wordline_driver.add(gdstk.Label('gnd', (8.9,147.6), layer=62, texttype=0))
wordline_driver.add(gdstk.Label('gnd', (18.5,147.6), layer=62, texttype=0))

lib.write_gds('wordline_driver.gds')
